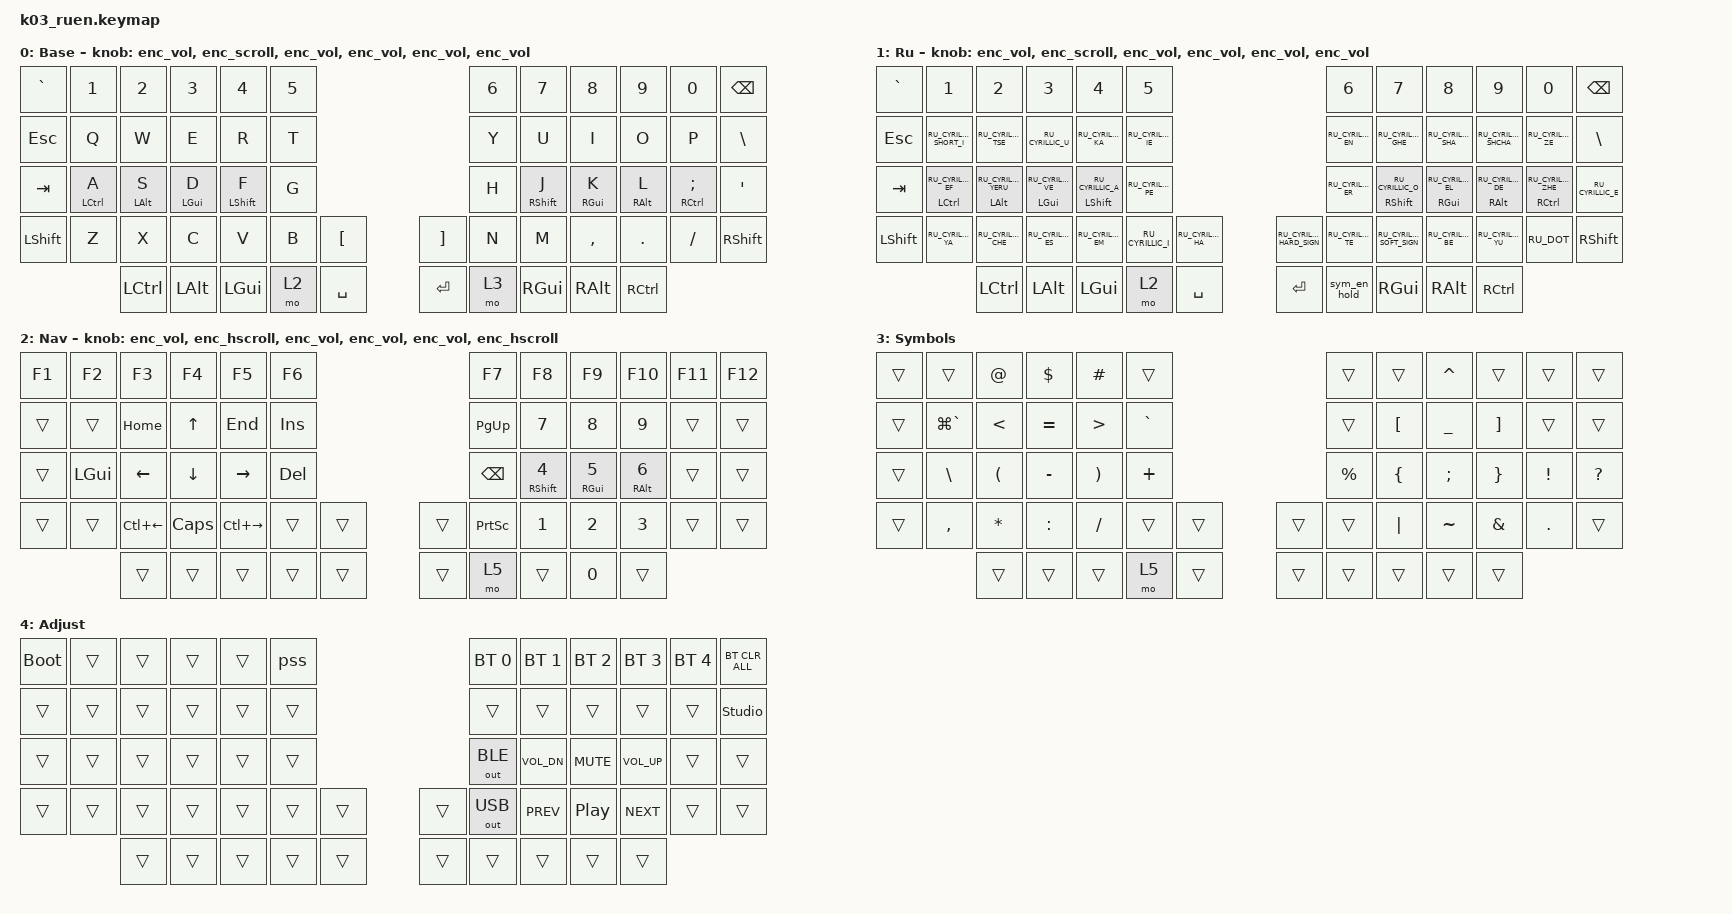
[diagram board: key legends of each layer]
#include "keys_ru.h"
#include <behaviors.dtsi>
#include <dt-bindings/zmk/bt.h>
#include <dt-bindings/zmk/keys.h>
#include <dt-bindings/zmk/outputs.h>
#define ZMK_POINTING_DEFAULT_SCRL_VAL 300
#include <dt-bindings/zmk/pointing.h>

/ {
    behaviors {
        enc_vol: enc_vol {
            compatible = "zmk,behavior-sensor-rotate";
            label = "ENC_VOL";
            #sensor-binding-cells = <0>;
            bindings = <&kp C_VOL_UP>, <&kp C_VOL_DN>;
        };

        enc_scroll: enc_scroll {
            compatible = "zmk,behavior-sensor-rotate";
            label = "ENC_SCROLL";
            #sensor-binding-cells = <0>;
            tap-ms = <80>;
            bindings = <&msc SCRL_UP>, <&msc SCRL_DOWN>;
        };

        enc_hscroll: enc_hscroll {
            compatible = "zmk,behavior-sensor-rotate";
            label = "ENC_HSCROLL";
            #sensor-binding-cells = <0>;
            tap-ms = <80>;
            bindings = <&msc SCRL_RIGHT>, <&msc SCRL_LEFT>;
        };

        hm: homerow_mods {
            compatible = "zmk,behavior-hold-tap";
            #binding-cells = <2>;
            tapping-term-ms = <280>;
            quick-tap-ms = <175>;
            require-prior-idle-ms = <150>;
            flavor = "balanced";
            bindings = <&kp>, <&kp>;
        };
    };

    combos {
        compatible = "zmk,combos";

        cmben {
            bindings = <&layer_en>;
            key-positions = <15 16>;
            layers = <1>;
        };

        cmbru {
            bindings = <&layer_ru>;
            key-positions = <15 16>;
            layers = <0>;
        };
    };

    macros {
        to_ru: to_ru {
            compatible = "zmk,behavior-macro";
            #binding-cells = <0>;
            bindings = <&kp CAPS>;
            label = "TO_RU";
            wait-ms = <0>;
            tap-ms = <200>;
        };

        to_en: to_en {
            compatible = "zmk,behavior-macro";
            #binding-cells = <0>;
            bindings = <&kp CAPS>;
            label = "TO_EN";
            wait-ms = <0>;
            tap-ms = <200>;
        };

        layer_en: layer_en {
            compatible = "zmk,behavior-macro";
            #binding-cells = <0>;
            bindings = <&to 0 &to_en>;
            label = "LAYER_EN";
            wait-ms = <0>;
            tap-ms = <30>;
        };

        layer_ru: layer_ru {
            compatible = "zmk,behavior-macro";
            #binding-cells = <0>;
            bindings = <&to 1 &to_ru>;
            label = "LAYER_RU";
            tap-ms = <30>;
            wait-ms = <0>;
        };

        sym_en_hold: sym_en_hold {
            compatible = "zmk,behavior-macro";
            #binding-cells = <0>;
            bindings
                = <&macro_tap &to_en>
                , <&macro_press &mo 3>
                , <&macro_pause_for_release>
                , <&macro_release &mo 3>
                , <&macro_tap &to_ru>;
            label = "SYM_EN_HOLD";
            wait-ms = <0>;
            tap-ms = <40>;
        };

        pss: pss {
            compatible = "zmk,behavior-macro";
            #binding-cells = <0>;
            bindings = <&kp L &kp LS(I) &kp N0 &kp LS(W) &kp L &kp POUND &kp LS(B) &kp L &kp L &kp LS(O) &kp L &kp L>;
            label = "pss";
        };
    };

    keymap {
        compatible = "zmk,keymap";

        en {
            bindings = <
&kp GRAVE  &kp N1  &kp N2    &kp N3    &kp N4     &kp N5                          &kp N6  &kp N7     &kp N8     &kp N9    &kp N0    &kp BSPC
&kp ESC    &kp Q   &kp W     &kp E     &kp R      &kp T                           &kp Y   &kp U      &kp I      &kp O     &kp P     &kp BSLH
&kp TAB    &hm LCTRL A  &hm LALT S  &hm LGUI D  &hm LSHFT F  &kp G                           &kp H   &hm RSHFT J  &hm RGUI K  &hm RALT L  &hm RCTRL SEMI  &kp SQT
&kp LSHFT  &kp Z        &kp X       &kp C       &kp V        &kp B   &kp LBKT     &kp RBKT   &kp N   &kp M        &kp COMMA   &kp DOT     &kp FSLH        &kp RSHFT
                         &kp LCTRL   &kp LALT    &kp LGUI     &mo 2   &kp SPACE    &kp ENTER  &mo 3   &kp RGUI     &kp RALT    &kp RCTRL
            >;

            display-name = "Base";
            sensor-bindings =
                <&enc_vol>,
                <&enc_scroll>,
                <&enc_vol>,
                <&enc_vol>,
                <&enc_vol>,
                <&enc_vol>;
        };

        ru {
            display-name = "Ru";
            bindings = <
&kp GRAVE  &kp N1                   &kp N2                &kp N3              &kp N4              &kp N5                                                               &kp N6              &kp N7                     &kp N8               &kp N9                 &kp N0               &kp BSPC
&kp ESC    &kp RU_CYRILLIC_SHORT_I  &kp RU_CYRILLIC_TSE   &kp RU_CYRILLIC_U   &kp RU_CYRILLIC_KA  &kp RU_CYRILLIC_IE                                                   &kp RU_CYRILLIC_EN  &kp RU_CYRILLIC_GHE        &kp RU_CYRILLIC_SHA  &kp RU_CYRILLIC_SHCHA  &kp RU_CYRILLIC_ZE   &kp BSLH
&kp TAB    &hm LCTRL RU_CYRILLIC_EF  &hm LALT RU_CYRILLIC_YERU  &hm LGUI RU_CYRILLIC_VE  &hm LSHFT RU_CYRILLIC_A  &kp RU_CYRILLIC_PE                                                   &kp RU_CYRILLIC_ER  &hm RSHFT RU_CYRILLIC_O    &hm RGUI RU_CYRILLIC_EL  &hm RALT RU_CYRILLIC_DE  &hm RCTRL RU_CYRILLIC_ZHE  &kp RU_CYRILLIC_E
&kp LSHFT  &kp RU_CYRILLIC_YA       &kp RU_CYRILLIC_CHE    &kp RU_CYRILLIC_ES   &kp RU_CYRILLIC_EM   &kp RU_CYRILLIC_I   &kp RU_CYRILLIC_HA    &kp RU_CYRILLIC_HARD_SIGN  &kp RU_CYRILLIC_TE  &kp RU_CYRILLIC_SOFT_SIGN  &kp RU_CYRILLIC_BE       &kp RU_CYRILLIC_YU   &kp RU_DOT                 &kp RSHFT
                                    &kp LCTRL              &kp LALT             &kp LGUI             &mo 2               &kp SPACE             &kp ENTER                  &sym_en_hold        &kp RGUI                   &kp RALT                 &kp RCTRL
            >;

            sensor-bindings =
                <&enc_vol>,
                <&enc_scroll>,
                <&enc_vol>,
                <&enc_vol>,
                <&enc_vol>,
                <&enc_vol>;
        };

        nav {
            bindings = <
&kp F1  &kp F2  &kp F3        &kp F4    &kp F5         &kp F6                     &kp F7           &kp F8  &kp F9  &kp F10  &kp F11  &kp F12
&trans  &trans  &kp HOME      &kp UP    &kp END        &kp INS                    &kp PG_UP        &kp N7  &kp N8  &kp N9   &trans   &trans
&trans  &kp LGUI  &kp LEFT       &kp DOWN       &kp RIGHT        &kp DEL                    &kp BSPC         &hm RSHFT N4  &hm RGUI N5  &hm RALT N6   &trans   &trans
&trans  &trans  &kp LC(LEFT)  &kp CAPS  &kp LC(RIGHT)  &trans   &trans    &trans  &kp PRINTSCREEN  &kp N1  &kp N2  &kp N3   &trans   &trans
                &trans        &trans    &trans         &trans   &trans    &trans  &mo 5            &trans  &kp N0  &trans
            >;

            display-name = "Nav";
            sensor-bindings =
                <&enc_vol>,
                <&enc_hscroll>,
                <&enc_vol>,
                <&enc_vol>,
                <&enc_vol>,
                <&enc_hscroll>;
        };

        sym_en {
            bindings = <
&trans  &trans     &kp AT    &kp DLLR   &kp HASH  &trans                       &trans     &trans    &kp CARET  &trans    &trans    &trans
&trans  &kp LG(GRAVE)  &kp LT    &kp EQUAL  &kp GT    &kp GRAVE                    &trans     &kp LBKT  &kp UNDER  &kp RBKT  &trans    &trans
&trans  &kp BSLH   &kp LPAR  &kp MINUS  &kp RPAR  &kp PLUS                     &kp PRCNT  &kp LBRC  &kp SEMI   &kp RBRC  &kp EXCL  &kp QUESTION
&trans  &kp COMMA  &kp STAR  &kp COLON  &kp FSLH  &trans     &trans    &trans  &trans     &kp PIPE  &kp TILDE  &kp AMPS  &kp DOT   &trans
                   &trans    &trans     &trans    &mo 5      &trans    &trans  &trans     &trans    &trans     &trans
            >;

            display-name = "Symbols";
        };

        adj {
            bindings = <
&bootloader  &trans  &trans  &trans  &trans  &pss                      &bt BT_SEL 0  &bt BT_SEL 1  &bt BT_SEL 2      &bt BT_SEL 3  &bt BT_SEL 4  &bt BT_CLR_ALL
&trans       &trans  &trans  &trans  &trans  &trans                    &trans        &trans        &trans            &trans        &trans        &studio_unlock
&trans       &trans  &trans  &trans  &trans  &trans                    &out OUT_BLE  &kp C_VOL_DN  &kp C_MUTE        &kp C_VOL_UP  &trans        &trans
&trans       &trans  &trans  &trans  &trans  &trans  &trans    &trans  &out OUT_USB  &kp C_PREV    &kp C_PLAY_PAUSE  &kp C_NEXT    &trans        &trans
                     &trans  &trans  &trans  &trans  &trans    &trans  &trans        &trans        &trans            &trans
            >;

            display-name = "Adjust";
        };
    };
};
